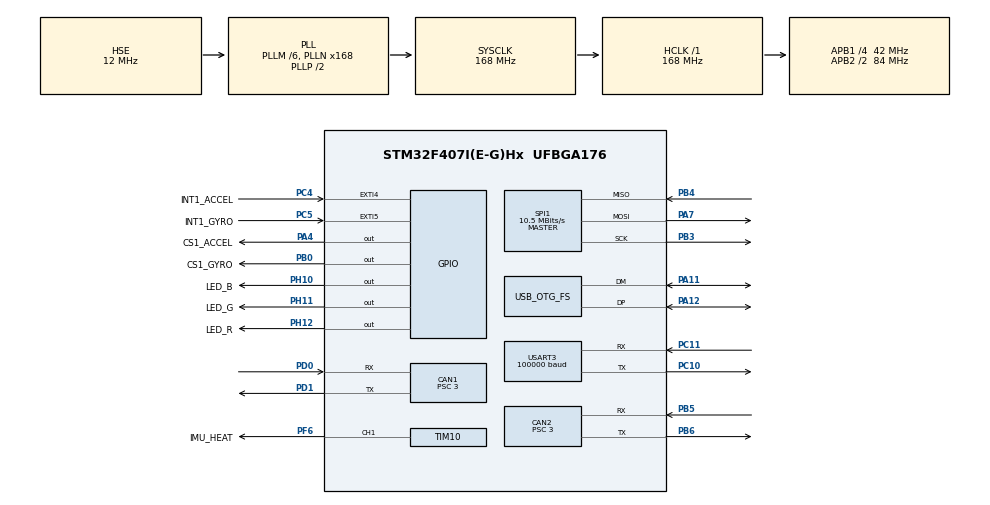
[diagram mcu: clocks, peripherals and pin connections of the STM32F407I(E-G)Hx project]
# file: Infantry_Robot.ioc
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CAN1.ABOM=ENABLE
CAN1.BS1=CAN_BS1_6TQ
CAN1.BS2=CAN_BS2_7TQ
CAN1.CalculateBaudRate=1000000
CAN1.CalculateTimeBit=1000
CAN1.CalculateTimeQuantum=71.42857142857143
CAN1.NART=ENABLE
CAN1.Prescaler=3
CAN1.TXFP=ENABLE
Dma.Request0=USART3_RX
Dma.Request1=SPI1_RX
Dma.Request2=SPI1_TX
Dma.SPI1_RX.1.Direction=DMA_PERIPH_TO_MEMORY
Dma.SPI1_RX.1.FIFOMode=DMA_FIFOMODE_DISABLE
Dma.SPI1_RX.1.Instance=DMA2_Stream2
Dma.SPI1_RX.1.MemDataAlignment=DMA_MDATAALIGN_BYTE
Dma.SPI1_RX.1.MemInc=DMA_MINC_ENABLE
Dma.SPI1_RX.1.Mode=DMA_NORMAL
Dma.SPI1_RX.1.PeriphDataAlignment=DMA_PDATAALIGN_BYTE
Dma.SPI1_RX.1.PeriphInc=DMA_PINC_DISABLE
Dma.SPI1_RX.1.Priority=DMA_PRIORITY_VERY_HIGH
Dma.SPI1_TX.2.Direction=DMA_MEMORY_TO_PERIPH
Dma.SPI1_TX.2.FIFOMode=DMA_FIFOMODE_DISABLE
Dma.SPI1_TX.2.Instance=DMA2_Stream3
Dma.SPI1_TX.2.MemDataAlignment=DMA_MDATAALIGN_BYTE
Dma.SPI1_TX.2.MemInc=DMA_MINC_ENABLE
Dma.SPI1_TX.2.Mode=DMA_NORMAL
Dma.SPI1_TX.2.PeriphDataAlignment=DMA_PDATAALIGN_BYTE
Dma.SPI1_TX.2.PeriphInc=DMA_PINC_DISABLE
Dma.SPI1_TX.2.Priority=DMA_PRIORITY_HIGH
Dma.USART3_RX.0.Direction=DMA_PERIPH_TO_MEMORY
Dma.USART3_RX.0.FIFOMode=DMA_FIFOMODE_DISABLE
Dma.USART3_RX.0.Instance=DMA1_Stream1
Dma.USART3_RX.0.MemDataAlignment=DMA_MDATAALIGN_BYTE
Dma.USART3_RX.0.MemInc=DMA_MINC_ENABLE
Dma.USART3_RX.0.Mode=DMA_CIRCULAR
Dma.USART3_RX.0.PeriphDataAlignment=DMA_PDATAALIGN_BYTE
Dma.USART3_RX.0.PeriphInc=DMA_PINC_DISABLE
Dma.USART3_RX.0.Priority=DMA_PRIORITY_HIGH
FREERTOS.Tasks01=LED_RED,0,128,red_led_task,As weak,NULL,Dynamic,NULL,NULL;LED_GREEN,2,128,green_led_task,As external,NULL,Dynamic,NULL,NULL
FREERTOS.configTOTAL_HEAP_SIZE=24576
FREERTOS.configUSE_MALLOC_FAILED_HOOK=1
Mcu.Family=STM32F4
Mcu.Name=STM32F407I(E-G)Hx
Mcu.Package=UFBGA176
NVIC.CAN1_RX0_IRQn=true\:5\:0\:false\:false\:true\:true\:true\:true\:true
NVIC.DMA1_Stream1_IRQn=true\:5\:0\:true\:false\:true\:true\:false\:true\:true
NVIC.DMA2_Stream2_IRQn=true\:5\:0\:false\:false\:false\:true\:false\:true\:true
NVIC.DMA2_Stream3_IRQn=true\:5\:0\:false\:false\:false\:true\:false\:true\:true
NVIC.EXTI4_IRQn=true\:5\:0\:false\:false\:true\:true\:true\:true\:true
NVIC.EXTI9_5_IRQn=true\:5\:0\:false\:false\:true\:true\:true\:true\:true
NVIC.OTG_FS_IRQn=true\:5\:0\:false\:false\:true\:true\:true\:true\:true
NVIC.PriorityGroup=NVIC_PRIORITYGROUP_4
NVIC.TIM6_DAC_IRQn=true\:15\:0\:false\:false\:true\:false\:false\:true\:true
NVIC.TimeBase=TIM6_DAC_IRQn
NVIC.TimeBaseIP=TIM6
NVIC.USART3_IRQn=true\:5\:0\:false\:false\:true\:true\:true\:true\:true
PA11.Mode=Device_Only
PA11.Signal=USB_OTG_FS_DM
PA12.Mode=Device_Only
PA12.Signal=USB_OTG_FS_DP
PA13.Mode=Serial_Wire
PA13.Signal=SYS_JTMS-SWDIO
PA14.Mode=Serial_Wire
PA14.Signal=SYS_JTCK-SWCLK
PA4.GPIO_Label=CS1_ACCEL
PA4.GPIO_PuPd=GPIO_PULLUP
PA4.GPIO_Speed=GPIO_SPEED_FREQ_HIGH
PA4.PinState=GPIO_PIN_SET
PA4.Signal=GPIO_Output
PA7.GPIO_PuPd=GPIO_PULLUP
PA7.Mode=Full_Duplex_Master
PA7.Signal=SPI1_MOSI
PB0.GPIO_Label=CS1_GYRO
PB0.GPIO_PuPd=GPIO_PULLUP
PB0.GPIO_Speed=GPIO_SPEED_FREQ_HIGH
PB0.PinState=GPIO_PIN_SET
PB0.Signal=GPIO_Output
PB3.GPIO_PuPd=GPIO_PULLUP
PB3.Mode=Full_Duplex_Master
PB3.Signal=SPI1_SCK
PB4.GPIO_PuPd=GPIO_PULLUP
PB4.Mode=Full_Duplex_Master
PB4.Signal=SPI1_MISO
PC10.Mode=Asynchronous
PC10.Signal=USART3_TX
PC11.Mode=Asynchronous
PC11.Signal=USART3_RX
PC4.GPIO_Label=INT1_ACCEL
PC4.GPIO_ModeDefaultEXTI=GPIO_MODE_IT_FALLING
PC4.GPIO_PuPd=GPIO_PULLUP
PC4.Signal=GPXTI4
PC5.GPIO_Label=INT1_GYRO
PC5.GPIO_ModeDefaultEXTI=GPIO_MODE_IT_FALLING
PC5.GPIO_PuPd=GPIO_PULLUP
PC5.Signal=GPXTI5
PD0.Mode=CAN_Activate
PD0.Signal=CAN1_RX
PD1.Mode=CAN_Activate
PD1.Signal=CAN1_TX
PF6.GPIO_Label=IMU_HEAT
PF6.GPIO_PuPd=GPIO_PULLUP
PF6.GPIO_Speed=GPIO_SPEED_FREQ_HIGH
PF6.Signal=S_TIM10_CH1
PH0-OSC_IN.Mode=HSE-External-Oscillator
PH0-OSC_IN.Signal=RCC_OSC_IN
PH1-OSC_OUT.Mode=HSE-External-Oscillator
PH1-OSC_OUT.Signal=RCC_OSC_OUT
PH10.GPIO_Label=LED_B
PH10.GPIO_PuPd=GPIO_PULLUP
PH10.GPIO_Speed=GPIO_SPEED_FREQ_MEDIUM
PH10.PinState=GPIO_PIN_SET
PH10.Signal=GPIO_Output
PH11.GPIO_Label=LED_G
PH11.GPIO_PuPd=GPIO_PULLUP
PH11.GPIO_Speed=GPIO_SPEED_FREQ_MEDIUM
PH11.PinState=GPIO_PIN_SET
PH11.Signal=GPIO_Output
PH12.GPIO_Label=LED_R
PH12.GPIO_PuPd=GPIO_PULLUP
PH12.GPIO_Speed=GPIO_SPEED_FREQ_MEDIUM
PH12.PinState=GPIO_PIN_SET
PH12.Signal=GPIO_Output
ProjectManager.HeapSize=0x2000
ProjectManager.StackSize=0x2000
ProjectManager.TargetToolchain=CMake
RCC.48MHZClocksFreq_Value=48000000
RCC.AHBFreq_Value=168000000
RCC.APB1CLKDivider=RCC_HCLK_DIV4
RCC.APB1Freq_Value=42000000
RCC.APB1TimFreq_Value=84000000
RCC.APB2CLKDivider=RCC_HCLK_DIV2
RCC.APB2Freq_Value=84000000
RCC.APB2TimFreq_Value=168000000
RCC.CortexFreq_Value=168000000
RCC.HCLKFreq_Value=168000000
RCC.HSE_VALUE=12000000
RCC.HSI_VALUE=16000000
RCC.LSE_VALUE=32768
RCC.PLLM=6
RCC.PLLN=168
RCC.PLLQ=7
RCC.RCC_RTC_Clock_SourceVirtual=RCC_RTCCLKSOURCE_HSE_DIV30
RCC.RCC_RTC_Clock_Source_FROM_HSE=RCC_RTCCLKSOURCE_HSE_DIV30
RCC.SYSCLKFreq_VALUE=168000000
RCC.SYSCLKSource=RCC_SYSCLKSOURCE_PLLCLK
RCC.VCOOutputFreq_Value=336000000
SH.S_TIM10_CH1.0=TIM10_CH1,PWM Generation1 CH1
SPI1.BaudRatePrescaler=SPI_BAUDRATEPRESCALER_8
SPI1.CLKPhase=SPI_PHASE_2EDGE
SPI1.CLKPolarity=SPI_POLARITY_HIGH
SPI1.CalculateBaudRate=10.5 MBits/s
SPI1.Direction=SPI_DIRECTION_2LINES
SPI1.Mode=SPI_MODE_MASTER
SPI1.VirtualType=VM_MASTER
TIM10.Channel=TIM_CHANNEL_1
TIM10.Period=2000-1
TIM10.Prescaler=84-1
USART3.BaudRate=100000
USART3.Mode=MODE_RX
USART3.Parity=PARITY_EVEN
USART3.VirtualMode=VM_ASYNC
USART3.WordLength=WORDLENGTH_9B
USB_DEVICE.CLASS_NAME_FS=CDC
USB_DEVICE.VirtualMode-CDC_FS=Cdc
USB_DEVICE.VirtualModeFS=Cdc_FS
USB_OTG_FS.VirtualMode=Device_Only
VP_FREERTOS_VS_CMSIS_V2.Mode=CMSIS_V2
VP_SYS_VS_tim6.Mode=TIM6
VP_TIM10_VS_ClockSourceINT.Mode=Enable_Timer
VP_USB_DEVICE_VS_USB_DEVICE_CDC_FS.Mode=CDC_FS
board=custom
CAN2.ABOM=ENABLE
CAN2.BS1=CAN_BS1_6TQ
CAN2.BS2=CAN_BS2_7TQ
CAN2.CalculateBaudRate=1000000
CAN2.CalculateTimeBit=1000
CAN2.CalculateTimeQuantum=71.42857142857143
CAN2.NART=ENABLE
CAN2.Prescaler=3
CAN2.TXFP=ENABLE
PB5.Mode=CAN_Activate
PB5.Signal=CAN2_RX
PB6.Mode=CAN_Activate
PB6.Signal=CAN2_TX
NVIC.CAN2_RX0_IRQn=true\:5\:0\:false\:false\:true\:true\:true\:true\:true
NVIC.CAN2_TX_IRQn=true\:5\:0\:false\:false\:true\:true\:true\:true\:true

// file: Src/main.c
/* USER CODE BEGIN Header */
/**
  ******************************************************************************
  * @file           : main.c
  * @brief          : Main program body
  ******************************************************************************
  * @attention
  *
  * <h2><center>&copy; Copyright (c) 2019 STMicroelectronics.
  * All rights reserved.</center></h2>
  *
  * This software component is licensed by ST under Ultimate Liberty license
  * SLA0044, the "License"; You may not use this file except in compliance with
  * the License. You may obtain a copy of the License at:
  *                             www.st.com/SLA0044
  *
  ******************************************************************************
  */
/* USER CODE END Header */
#include "main.h"
#include "cmsis_os.h"
#include "can.h"
#include "dma.h"
#include "spi.h"
#include "tim.h"
#include "usart.h"
#include "usb_device.h"
#include "gpio.h"

/* USER CODE BEGIN Includes */

#include "red_led_task.h"
#include "green_led_task.h"
#include "blue_led_task.h"
/* USER CODE END Includes */

void SystemClock_Config(void);
void MX_FREERTOS_Init(void);

int main(void)
{

  /* MCU Configuration--------------------------------------------------------*/

  /* Reset of all peripherals, Initializes the Flash interface and the Systick. */
  HAL_Init();

  /* Configure the system clock */
  SystemClock_Config();

  /* Initialize all configured peripherals */
  MX_GPIO_Init();
  MX_DMA_Init();
  MX_CAN1_Init();
  MX_CAN2_Init();
  MX_USART3_UART_Init();
  MX_SPI1_Init();
  MX_TIM10_Init();

  /* Init scheduler */
  osKernelInitialize();  /* Call init function for freertos objects (in cmsis_os2.c) */
  MX_FREERTOS_Init();

  /* Start scheduler */
  osKernelStart();

  /* We should never get here as control is now taken by the scheduler */

  /* Infinite loop */
  while (1)
  {

  }
}

void SystemClock_Config(void)
{
  RCC_OscInitTypeDef RCC_OscInitStruct = {0};
  RCC_ClkInitTypeDef RCC_ClkInitStruct = {0};

  /** Configure the main internal regulator output voltage
  */
  __HAL_RCC_PWR_CLK_ENABLE();
  __HAL_PWR_VOLTAGESCALING_CONFIG(PWR_REGULATOR_VOLTAGE_SCALE1);

  /** Initializes the RCC Oscillators according to the specified parameters
  * in the RCC_OscInitTypeDef structure.
  */
  RCC_OscInitStruct.OscillatorType = RCC_OSCILLATORTYPE_HSE;
  RCC_OscInitStruct.HSEState = RCC_HSE_ON;
  RCC_OscInitStruct.PLL.PLLState = RCC_PLL_ON;
  RCC_OscInitStruct.PLL.PLLSource = RCC_PLLSOURCE_HSE;
  RCC_OscInitStruct.PLL.PLLM = 6;
  RCC_OscInitStruct.PLL.PLLN = 168;
  RCC_OscInitStruct.PLL.PLLP = RCC_PLLP_DIV2;
  RCC_OscInitStruct.PLL.PLLQ = 7;
  if (HAL_RCC_OscConfig(&RCC_OscInitStruct) != HAL_OK)
  {
    Error_Handler();
  }

  /** Initializes the CPU, AHB and APB buses clocks
  */
  RCC_ClkInitStruct.ClockType = RCC_CLOCKTYPE_HCLK|RCC_CLOCKTYPE_SYSCLK
                              |RCC_CLOCKTYPE_PCLK1|RCC_CLOCKTYPE_PCLK2;
  RCC_ClkInitStruct.SYSCLKSource = RCC_SYSCLKSOURCE_PLLCLK;
  RCC_ClkInitStruct.AHBCLKDivider = RCC_SYSCLK_DIV1;
  RCC_ClkInitStruct.APB1CLKDivider = RCC_HCLK_DIV4;
  RCC_ClkInitStruct.APB2CLKDivider = RCC_HCLK_DIV2;

  if (HAL_RCC_ClockConfig(&RCC_ClkInitStruct, FLASH_LATENCY_5) != HAL_OK)
  {
    Error_Handler();
  }
}

void HAL_TIM_PeriodElapsedCallback(TIM_HandleTypeDef *htim)
{
  if (htim->Instance == TIM6)
  {
    HAL_IncTick();
  }
}

void Error_Handler(void)
{
}

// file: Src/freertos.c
/* USER CODE BEGIN Header */
/**
  ******************************************************************************
  * File Name          : freertos.c
  * Description        : Code for freertos applications
  ******************************************************************************
  * @attention
  *
  * <h2><center>&copy; Copyright (c) 2019 STMicroelectronics.
  * All rights reserved.</center></h2>
  *
  * This software component is licensed by ST under Ultimate Liberty license
  * SLA0044, the "License"; You may not use this file except in compliance with
  * the License. You may obtain a copy of the License at:
  *                             www.st.com/SLA0044
  *
  ******************************************************************************
  */
/* USER CODE END Header */

#include "FreeRTOS.h"
#include "task.h"
#include "main.h"
#include "cmsis_os.h"

/* USER CODE BEGIN Includes */
#include "task/user_task.h"
/* USER CODE END Includes */

/* USER CODE BEGIN PM */

extern void blue_led_task(void *argument);
/* USER CODE END PM */

/* Definitions for LED_RED */
osThreadId_t LED_REDHandle;
const osThreadAttr_t LED_RED_attributes = {
  .name = "LED_RED",
  .stack_size = 128 * 4,
  .priority = (osPriority_t) osPriorityNormal,
};
/* Definitions for LED_GREEN */
osThreadId_t LED_GREENHandle;
const osThreadAttr_t LED_GREEN_attributes = {
  .name = "LED_GREEN",
  .stack_size = 128 * 4,
  .priority = (osPriority_t) osPriorityNormal,
};

/* USER CODE BEGIN FunctionPrototypes */

osThreadId_t led_blue_handle;
const osThreadAttr_t LED_BLUE_attributes = {
  .name = "LED_BLUE",
  .stack_size = 512,
  .priority = (osPriority_t) osPriorityHigh,
};
/* USER CODE END FunctionPrototypes */

void red_led_task(void *argument);
extern void green_led_task(void *argument);

extern void MX_USB_DEVICE_Init(void);
void MX_FREERTOS_Init(void); /* (MISRA C 2004 rule 8.1) */

void MX_FREERTOS_Init(void) {

  /* Create the thread(s) */
  /* creation of LED_RED */
  LED_REDHandle = osThreadNew(red_led_task, NULL, &LED_RED_attributes);

  /* creation of LED_GREEN */
  LED_GREENHandle = osThreadNew(green_led_task, NULL, &LED_GREEN_attributes);

  /* USER CODE BEGIN RTOS_THREADS */
  /* add threads, ... */
  led_blue_handle = osThreadNew(blue_led_task, NULL, &LED_BLUE_attributes);
  // 启动线程创建失败时进入统一错误入口，禁止启动缺少装配任务的业务系统
  if (LED_REDHandle == NULL || LED_GREENHandle == NULL || led_blue_handle == NULL ||
      osThreadNew(Task_Init, NULL, &attr_init) == NULL)
  {
    Error_Handler();
  }
  /* USER CODE END RTOS_THREADS */

}

__weak void red_led_task(void *argument)
{
  /* init code for USB_DEVICE */
  MX_USB_DEVICE_Init();
  for(;;)
  {
    osDelay(1);
  }
}
